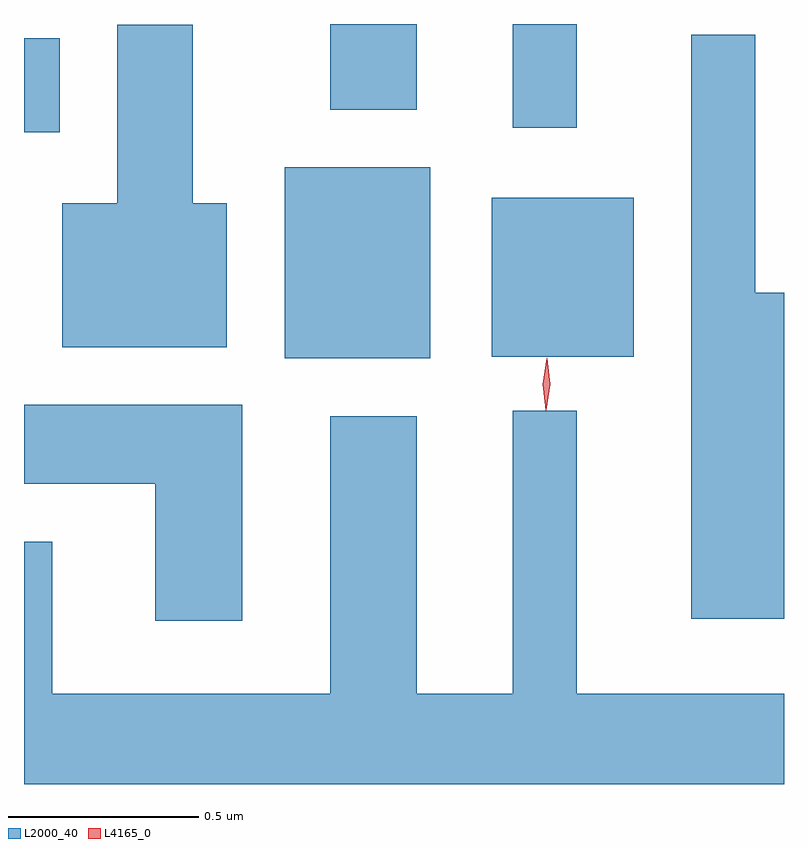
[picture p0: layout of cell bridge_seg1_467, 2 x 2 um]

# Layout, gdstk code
import gdstk
lib = gdstk.Library(unit=1e-6, precision=1e-09)
def R(c, l, rs):  # rectangles x0, y0, x1, y1
    for r in rs: c.add(gdstk.rectangle(r[:2], r[2:], *l))
def P(c, l, *ps):  # polygons
    for p in ps: c.add(gdstk.Polygon(p, *l))
L2000_40 = (2000, 40)
L4165_0 = (4165, 0)

bridge_seg1_467 = lib.new_cell('bridge_seg1_467')
R(bridge_seg1_467, L2000_40, [(215.491,858.546,215.874,859.049), (216.036,858.551,216.409,858.969), (214.805,859.141,214.899,859.389), (216.091,859.153,216.259,859.426), (215.611,859.201,215.839,859.426)])
P(bridge_seg1_467, L2000_40, [(215.339,858.954),(215.249,858.954),(215.249,859.424),(215.051,859.424),(215.051,858.954),(214.906,858.954),(214.906,858.576),(215.339,858.576)],
  [(216.805,858.719),(216.729,858.719),(216.729,859.398),(216.561,859.398),(216.561,857.861),(216.805,857.861)],
  [(215.379,858.424),(214.805,858.424),(214.805,858.216),(215.151,858.216),(215.151,857.856),(215.379,857.856)],
  [(216.805,857.664),(216.259,857.664),(216.259,858.408),(216.091,858.408),(216.091,857.664),(215.839,857.664),(215.839,858.394),(215.611,858.394),(215.611,857.664),(214.879,857.664),(214.879,858.064),(214.805,858.064),(214.805,857.426),(216.805,857.426)])
P(bridge_seg1_467, L4165_0, [(216.178,858.413),(216.178,858.413),(216.17,858.477),(216.181,858.541),(216.181,858.542),(216.182,858.541),(216.19,858.477),(216.179,858.413)],
  [(216.178,858.41),(216.178,858.41),(216.17,858.478),(216.181,858.546),(216.181,858.546),(216.182,858.546),(216.19,858.478),(216.179,858.41)])

lib.write_gds('bridge_seg1_467.gds')
